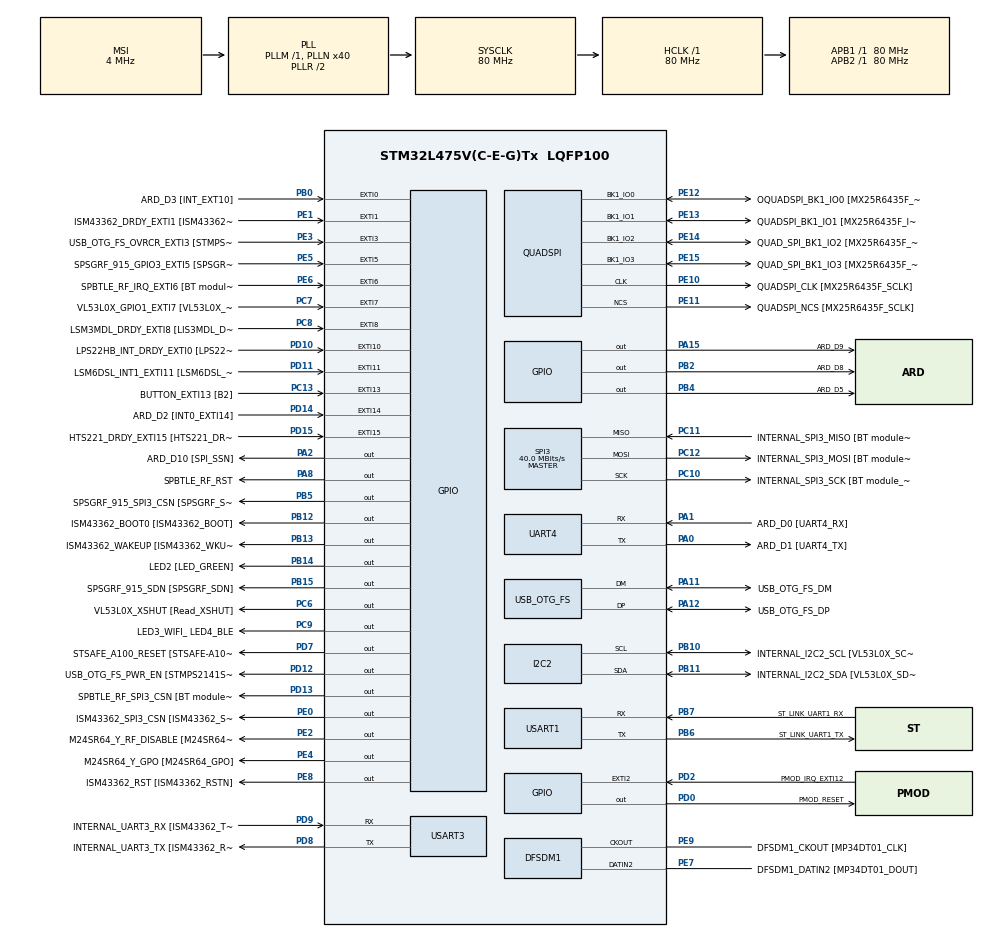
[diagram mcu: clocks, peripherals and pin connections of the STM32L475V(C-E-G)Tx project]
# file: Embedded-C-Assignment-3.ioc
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Dma.Request0=UART4_RX
Dma.Request1=UART4_TX
Dma.UART4_RX.0.Direction=DMA_PERIPH_TO_MEMORY
Dma.UART4_RX.0.Instance=DMA2_Channel5
Dma.UART4_RX.0.MemDataAlignment=DMA_MDATAALIGN_BYTE
Dma.UART4_RX.0.MemInc=DMA_MINC_ENABLE
Dma.UART4_RX.0.Mode=DMA_NORMAL
Dma.UART4_RX.0.PeriphDataAlignment=DMA_PDATAALIGN_BYTE
Dma.UART4_RX.0.PeriphInc=DMA_PINC_DISABLE
Dma.UART4_RX.0.Priority=DMA_PRIORITY_LOW
Dma.UART4_TX.1.Direction=DMA_MEMORY_TO_PERIPH
Dma.UART4_TX.1.Instance=DMA2_Channel3
Dma.UART4_TX.1.MemDataAlignment=DMA_MDATAALIGN_BYTE
Dma.UART4_TX.1.MemInc=DMA_MINC_ENABLE
Dma.UART4_TX.1.Mode=DMA_NORMAL
Dma.UART4_TX.1.PeriphDataAlignment=DMA_PDATAALIGN_BYTE
Dma.UART4_TX.1.PeriphInc=DMA_PINC_DISABLE
Dma.UART4_TX.1.Priority=DMA_PRIORITY_LOW
Mcu.Family=STM32L4
Mcu.Name=STM32L475V(C-E-G)Tx
Mcu.Package=LQFP100
NVIC.DMA2_Channel3_IRQn=true\:0\:0\:false\:false\:true\:false\:true\:true
NVIC.DMA2_Channel5_IRQn=true\:0\:0\:false\:false\:true\:false\:true\:true
NVIC.EXTI15_10_IRQn=true\:0\:0\:false\:false\:true\:true\:true\:true
NVIC.EXTI9_5_IRQn=true\:0\:0\:false\:false\:true\:true\:true\:true
NVIC.PriorityGroup=NVIC_PRIORITYGROUP_4
NVIC.UART4_IRQn=true\:0\:0\:false\:false\:true\:true\:true\:true
PA0.GPIO_Label=ARD_D1 [UART4_TX]
PA0.Mode=Asynchronous
PA0.Signal=UART4_TX
PA1.GPIO_Label=ARD_D0 [UART4_RX]
PA1.Mode=Asynchronous
PA1.Signal=UART4_RX
PA10.GPIO_Label=USB_OTG_FS_ID
PA10.Signal=USB_OTG_FS_ID
PA11.GPIO_Label=USB_OTG_FS_DM
PA11.Mode=Device_Only
PA11.Signal=USB_OTG_FS_DM
PA12.GPIO_Label=USB_OTG_FS_DP
PA12.Mode=Device_Only
PA12.Signal=USB_OTG_FS_DP
PA13\ (JTMS-SWDIO).GPIO_Label=SYS_JTMS_SWDIO
PA13\ (JTMS-SWDIO).Mode=Serial_Wire
PA13\ (JTMS-SWDIO).Signal=SYS_JTMS-SWDIO
PA14\ (JTCK-SWCLK).GPIO_Label=SYS_JTCK_SWCLK
PA14\ (JTCK-SWCLK).Mode=Serial_Wire
PA14\ (JTCK-SWCLK).Signal=SYS_JTCK-SWCLK
PA15\ (JTDI).GPIO_Label=ARD_D9
PA15\ (JTDI).Signal=GPIO_Output
PA2.GPIO_Label=ARD_D10 [SPI_SSN]
PA2.Signal=GPIO_Output
PA3.GPIO_Label=ARD_D4
PA3.Signal=S_TIM2_CH4
PA4.GPIO_Label=ARD_D7
PA4.Signal=ADCx_IN9
PA5.GPIO_Label=ARD_D13 [SPI1_SCK]
PA5.Signal=SPI1_SCK
PA6.GPIO_Label=ARD_D12 [SPI1_MISO]
PA6.Signal=SPI1_MISO
PA7.GPIO_Label=ARD_D11 [SPI1_MOSI]
PA7.Signal=SPI1_MOSI
PA8.GPIO_Label=SPBTLE_RF_RST
PA8.Signal=GPIO_Output
PA9.GPIO_Label=USB_OTG_FS_VBUS [STMPS2141STR_OUT]
PA9.Signal=USB_OTG_FS_VBUS
PB0.GPIO_Label=ARD_D3 [INT_EXT10]
PB0.Signal=GPXTI0
PB1.GPIO_Label=ARD_D6 [ADC1_IN6]
PB1.Signal=ADCx_IN16
PB10.GPIO_Label=INTERNAL_I2C2_SCL [VL53L0X_SCL]
PB10.GPIO_Pu=GPIO_PULLUP
PB10.Mode=I2C
PB10.Signal=I2C2_SCL
PB11.GPIO_Label=INTERNAL_I2C2_SDA [VL53L0X_SDA]
PB11.GPIO_Pu=GPIO_PULLUP
PB11.Mode=I2C
PB11.Signal=I2C2_SDA
PB12.GPIO_Label=ISM43362_BOOT0 [ISM43362_BOOT]
PB12.Signal=GPIO_Output
PB13.GPIO_Label=ISM43362_WAKEUP [ISM43362_WKUP]
PB13.Signal=GPIO_Output
PB14.GPIO_Label=LED2 [LED_GREEN]
PB14.Signal=GPIO_Output
PB15.GPIO_Label=SPSGRF_915_SDN [SPSGRF_SDN]
PB15.Signal=GPIO_Output
PB2.GPIO_Label=ARD_D8
PB2.Signal=GPIO_Output
PB3\ (JTDO-TRACESWO).GPIO_Label=SYS_JTD0_SWO
PB3\ (JTDO-TRACESWO).Signal=SYS_JTDO-SWO
PB4\ (NJTRST).GPIO_Label=ARD_D5
PB4\ (NJTRST).Signal=GPIO_Output
PB5.GPIO_Label=SPSGRF_915_SPI3_CSN [SPSGRF_SPI_CS]
PB5.PinState=GPIO_PIN_SET
PB5.Signal=GPIO_Output
PB6.GPIO_Label=ST_LINK_UART1_TX
PB6.Mode=Asynchronous
PB6.Signal=USART1_TX
PB7.GPIO_Label=ST_LINK_UART1_RX
PB7.Mode=Asynchronous
PB7.Signal=USART1_RX
PB8.GPIO_Label=ARD_D15 [I2C1_SCL]
PB8.Signal=I2C1_SCL
PB9.GPIO_Label=ARD_D14 [I2C1_SDA]
PB9.Signal=I2C1_SDA
PC0.GPIO_Label=ARD_A5 [ADC]
PC0.Signal=ADCx_IN1
PC1.GPIO_Label=ARD_A4 [ADC]
PC1.Signal=ADCx_IN2
PC10.GPIO_Label=INTERNAL_SPI3_SCK [BT module_SPI_SCLK] [ISM43362_SCK]
PC10.Mode=Full_Duplex_Master
PC10.Signal=SPI3_SCK
PC11.GPIO_Label=INTERNAL_SPI3_MISO [BT module_SPI_MISO] [ISM43362_MISO]
PC11.Mode=Full_Duplex_Master
PC11.Signal=SPI3_MISO
PC12.GPIO_Label=INTERNAL_SPI3_MOSI [BT module_SPI_MOSI] [ISM43362_MOSI]
PC12.Mode=Full_Duplex_Master
PC12.Signal=SPI3_MOSI
PC13.GPIO_Label=BUTTON_EXTI13 [B2]
PC13.GPIO_ModeDefaultEXTI=GPIO_MODE_IT_FALLING
PC13.Signal=GPXTI13
PC14-OSC32_IN\ (PC14).Mode=LSE-External-Oscillator
PC14-OSC32_IN\ (PC14).Signal=RCC_OSC32_IN
PC15-OSC32_OUT\ (PC15).Mode=LSE-External-Oscillator
PC15-OSC32_OUT\ (PC15).Signal=RCC_OSC32_OUT
PC2.GPIO_Label=ARD_A3 [ADC]
PC2.Signal=ADCx_IN3
PC3.GPIO_Label=ARD_A2 [ADC]
PC3.Signal=ADCx_IN4
PC4.GPIO_Label=ARD_A1 [ADC]
PC4.Signal=ADCx_IN13
PC5.GPIO_Label=ARD_A0 [ADC]
PC5.Signal=ADCx_IN14
PC6.GPIO_Label=VL53L0X_XSHUT [Read_XSHUT]
PC6.Signal=GPIO_Output
PC7.GPIO_Label=VL53L0X_GPIO1_EXTI7 [VL53L0X_GPIO1]
PC7.Signal=GPXTI7
PC8.GPIO_Label=LSM3MDL_DRDY_EXTI8 [LIS3MDL_DRDY]
PC8.Signal=GPXTI8
PC9.GPIO_Label=LED3_WIFI_ LED4_BLE
PC9.Signal=GPIO_Output
PD0.GPIO_Label=PMOD_RESET
PD0.Signal=GPIO_Output
PD1.GPIO_Label=PMOD_SPI2_SCK
PD1.Signal=SPI2_SCK
PD10.GPIO_Label=LPS22HB_INT_DRDY_EXTI0 [LPS22HB_INT_DRDY] 
PD10.Signal=GPXTI10
PD11.GPIO_Label=LSM6DSL_INT1_EXTI11 [LSM6DSL_INT1]
PD11.Signal=GPXTI11
PD12.GPIO_Label=USB_OTG_FS_PWR_EN [STMPS2141STR_EN]
PD12.Signal=GPIO_Output
PD13.GPIO_Label=SPBTLE_RF_SPI3_CSN [BT module_SPI_CS]
PD13.PinState=GPIO_PIN_SET
PD13.Signal=GPIO_Output
PD14.GPIO_Label=ARD_D2 [INT0_EXTI14]
PD14.Signal=GPXTI14
PD15.GPIO_Label=HTS221_DRDY_EXTI15 [HTS221_DRDY]
PD15.Signal=GPXTI15
PD2.GPIO_Label=PMOD_IRQ_EXTI12
PD2.Signal=GPXTI2
PD3.GPIO_Label=PMOD_UART2_CTS
PD3.Signal=USART2_CTS
PD4.GPIO_Label=PMOD_UART2_RTS
PD4.Signal=USART2_RTS
PD5.GPIO_Label=PMOD_UART2_TX
PD5.Signal=USART2_TX
PD6.GPIO_Label=PMOD_UART2_RX
PD6.Signal=USART2_RX
PD7.GPIO_Label=STSAFE_A100_RESET [STSAFE-A100_RESET]
PD7.Signal=GPIO_Output
PD8.GPIO_Label=INTERNAL_UART3_TX [ISM43362_RX]
PD8.Mode=Asynchronous
PD8.Signal=USART3_TX
PD9.GPIO_Label=INTERNAL_UART3_RX [ISM43362_TX]
PD9.Mode=Asynchronous
PD9.Signal=USART3_RX
PE0.GPIO_Label=ISM43362_SPI3_CSN [ISM43362_SSN]
PE0.PinState=GPIO_PIN_SET
PE0.Signal=GPIO_Output
PE1.GPIO_Label=ISM43362_DRDY_EXTI1 [ISM43362_DATARDY]
PE1.Signal=GPXTI1
PE10.GPIO_Label=QUADSPI_CLK [MX25R6435F_SCLK]
PE10.Mode=Single Bank
PE10.Signal=QUADSPI_CLK
PE11.GPIO_Label=QUADSPI_NCS [MX25R6435F_SCLK]
PE11.Mode=Single Bank
PE11.Signal=QUADSPI_NCS
PE12.GPIO_Label=OQUADSPI_BK1_IO0 [MX25R6435F_IO0]
PE12.Mode=Single Bank
PE12.Signal=QUADSPI_BK1_IO0
PE13.GPIO_Label=QUADSPI_BK1_IO1 [MX25R6435F_IO1]
PE13.Mode=Single Bank
PE13.Signal=QUADSPI_BK1_IO1
PE14.GPIO_Label=QUAD_SPI_BK1_IO2 [MX25R6435F_IO2]
PE14.Mode=Single Bank
PE14.Signal=QUADSPI_BK1_IO2
PE15.GPIO_Label=QUAD_SPI_BK1_IO3 [MX25R6435F_IO3]
PE15.Mode=Single Bank
PE15.Signal=QUADSPI_BK1_IO3
PE2.GPIO_Label=M24SR64_Y_RF_DISABLE [M24SR64_RFDIS]
PE2.Signal=GPIO_Output
PE3.GPIO_Label=USB_OTG_FS_OVRCR_EXTI3 [STMPS2141STR_FAULT]
PE3.Signal=GPXTI3
PE4.GPIO_Label=M24SR64_Y_GPO [M24SR64_GPO]
PE4.Signal=GPIO_Output
PE5.GPIO_Label=SPSGRF_915_GPIO3_EXTI5 [SPSGRF_GPIO_3]
PE5.Signal=GPXTI5
PE6.GPIO_Label=SPBTLE_RF_IRQ_EXTI6 [BT module_SPI_IRQ]
PE6.Signal=GPXTI6
PE7.GPIO_Label=DFSDM1_DATIN2 [MP34DT01_DOUT]
PE7.Signal=S_DATAIN2DFSDM1
PE8.GPIO_Label=ISM43362_RST [ISM43362_RSTN]
PE8.Signal=GPIO_Output
PE9.GPIO_Label=DFSDM1_CKOUT [MP34DT01_CLK]
PE9.Signal=S_CKOUTDFSDM1
ProjectManager.HeapSize=0x200
ProjectManager.StackSize=0x400
ProjectManager.TargetToolchain=STM32CubeIDE
QUADSPI.ClockPrescaler=2
QUADSPI.FifoThreshold=4
QUADSPI.FlashSize=23
QUADSPI.SampleShifting=QSPI_SAMPLE_SHIFTING_HALFCYCLE
RCC.ADCFreq_Value=48000000
RCC.AHBFreq_Value=80000000
RCC.APB1Freq_Value=80000000
RCC.APB1TimFreq_Value=80000000
RCC.APB2Freq_Value=80000000
RCC.APB2TimFreq_Value=80000000
RCC.CortexFreq_Value=80000000
RCC.HCLKFreq_Value=80000000
RCC.HSE_VALUE=8000000
RCC.HSI_VALUE=16000000
RCC.MSI_VALUE=4000000
RCC.PLLN=40
RCC.PLLSAI1N=24
RCC.SYSCLKFreq_VALUE=80000000
RCC.SYSCLKSource=RCC_SYSCLKSOURCE_PLLCLK
RCC.USBFreq_Value=48000000
RCC.VCOOutputFreq_Value=160000000
SH.ADCx_IN1.0=ADC1_IN1
SH.ADCx_IN13.0=ADC1_IN13
SH.ADCx_IN14.0=ADC1_IN14
SH.ADCx_IN16.0=ADC1_IN16
SH.ADCx_IN2.0=ADC1_IN2
SH.ADCx_IN3.0=ADC1_IN3
SH.ADCx_IN4.0=ADC1_IN4
SH.ADCx_IN9.0=ADC1_IN9
SH.S_CKOUTDFSDM1.0=DFSDM1_CKOUT,CKOUT
SH.S_CKOUTDFSDM1.1=DFSDM1_CKOUT,PDM_SPI_Input_from_ch12_and_Internal_Clock
SH.S_DATAIN2DFSDM1.0=DFSDM1_DATIN2,PDM_SPI_Input_from_ch12_and_Internal_Clock
SH.S_TIM2_CH4.0=TIM2_CH4
SPI3.CalculateBaudRate=40.0 MBits/s
SPI3.Direction=SPI_DIRECTION_2LINES
SPI3.Mode=SPI_MODE_MASTER
SPI3.VirtualType=VM_MASTER
USART1.VirtualMode-Asynchronous=VM_ASYNC
USART3.VirtualMode-Asynchronous=VM_ASYNC
USB_OTG_FS.VirtualMode=Device_Only
board=B-L475E-IOT01A2

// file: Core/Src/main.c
/* USER CODE BEGIN Header */
/**
  ******************************************************************************
  * @file           : main.c
  * @brief          : Main program body
  ******************************************************************************
  * @attention
  *
  * Copyright (c) 2023 STMicroelectronics.
  * All rights reserved.
  *
  * This software is licensed under terms that can be found in the LICENSE file
  * in the root directory of this software component.
  * If no LICENSE file comes with this software, it is provided AS-IS.
  *
  ******************************************************************************
  */
/* USER CODE END Header */
#include "main.h"

/* USER CODE BEGIN Includes */
#include <stdio.h>
#include <string.h>
/* USER CODE END Includes */

DFSDM_Channel_HandleTypeDef hdfsdm1_channel1;

I2C_HandleTypeDef hi2c2;

QSPI_HandleTypeDef hqspi;

SPI_HandleTypeDef hspi3;

UART_HandleTypeDef huart4;
UART_HandleTypeDef huart1;
UART_HandleTypeDef huart3;
DMA_HandleTypeDef hdma_uart4_rx;
DMA_HandleTypeDef hdma_uart4_tx;

PCD_HandleTypeDef hpcd_USB_OTG_FS;

void SystemClock_Config(void);
static void MX_GPIO_Init(void);
static void MX_DMA_Init(void);
static void MX_DFSDM1_Init(void);
static void MX_I2C2_Init(void);
static void MX_QUADSPI_Init(void);
static void MX_SPI3_Init(void);
static void MX_USART1_UART_Init(void);
static void MX_USART3_UART_Init(void);
static void MX_USB_OTG_FS_PCD_Init(void);
static void MX_UART4_Init(void);

/* USER CODE BEGIN 0 */
static char tx_buf[] = "abcdefghijklmnopqrstuvwxyz\r\n";
static char rx_buf[] = "abcdefghijklmnopqrstuvwxyz\r\n";

static void do_polling()
{
	char *ptx_buf = tx_buf;
	char *prx_buf = rx_buf;

	// Set Rx buffer to known character
	for(int i = 0; i < sizeof(rx_buf); i++) rx_buf[i] = '?';

	do
	{
		// Let UART1 knows we are active
		char ch = '.';
		HAL_UART_Transmit(&huart1, (uint8_t*)&ch, 1, 100);

		// Send a char
		HAL_UART_Transmit(&huart4, (uint8_t*)ptx_buf, 1, 100);

		// Receive a char (we are in loop-back)
		HAL_UART_Receive(&huart4, (uint8_t*)prx_buf, 1, 100);

		// Confirm they are the same
		if(*ptx_buf != *prx_buf)
		{
			char buf[100];
			snprintf(buf, sizeof(buf), "\r\n Error 0x%02x != 0x%02x\r\n", *ptx_buf, *prx_buf);
			HAL_UART_Transmit(&huart1, (uint8_t*)buf, sizeof(buf), 100);
			return;
		}
		// point to next location
		ptx_buf++;
		prx_buf++;
	}while(ptx_buf < tx_buf + sizeof(tx_buf));
}

static int do_interrupt_done;

void HAL_UART_TxCpltCallback(UART_HandleTypeDef *huart)
{
	// Show we made it here
	char ch = 'T';
	HAL_UART_Transmit(&huart1, (uint8_t*)&ch, 1, 100);
}

void HAL_UART_RxCpltCallback(UART_HandleTypeDef *huart)
{
	// Show we made it here
	char ch = 'R';
	HAL_UART_Transmit(&huart1, (uint8_t*)&ch, 1, 100);

	// Confirm we receive all the data
	HAL_UART_Transmit(&huart1, (uint8_t*)rx_buf, sizeof(rx_buf), 100);

	do_interrupt_done = 1;
}

static void do_interrupt()
{
	// Set Rx buffer to known character
	for(int i = 0; i < sizeof(rx_buf); i++) rx_buf[i] = '?';

	// Let UART1 knows we are active
	char ch = '.';
	HAL_UART_Transmit(&huart1, (uint8_t*)&ch, 1, 100);

	// Clears flag to know when interrupt is done
	do_interrupt_done = 0;

	// Receive the buffer using interrupt;
	HAL_UART_Receive_IT(&huart4, (uint8_t*)rx_buf, sizeof(rx_buf));

	// Send the complete buffer using interrupt
	HAL_UART_Transmit_IT(&huart4, (uint8_t*)tx_buf, sizeof(tx_buf));

	// Interrupt Tx and Rx does the work, we just wait
	while(!do_interrupt_done)
	{
		char ch = '~';
		HAL_UART_Transmit(&huart1, (uint8_t*)&ch, 1, 100);
		HAL_Delay(100);
	}
}

static void do_dma()
{
	// Set Rx buffer to known character
	for(int i = 0; i < sizeof(rx_buf); i++) rx_buf[i] = '?';

	// Let UART1 knows we are active
	char ch = '.';
	HAL_UART_Transmit(&huart1, (uint8_t*)&ch, 1, 100);

	// Clears flag to know when interrupt is done
	do_interrupt_done = 0;

	// Receive the buffer using interrupt;
	HAL_UART_Receive_DMA(&huart4, (uint8_t*)rx_buf, sizeof(rx_buf));

	// Send the complete buffer using interrupt
	HAL_UART_Transmit_DMA(&huart4, (uint8_t*)tx_buf, sizeof(tx_buf));

	// Interrupt Tx and Rx does the work, we just wait
	while(!do_interrupt_done)
	{
		char ch = '~';
		HAL_UART_Transmit(&huart1, (uint8_t*)&ch, 1, 100);
		HAL_Delay(100);
	}
}

/* USER CODE END 0 */

int main(void)
{

  /* MCU Configuration--------------------------------------------------------*/

  /* Reset of all peripherals, Initializes the Flash interface and the Systick. */
  HAL_Init();

  /* Configure the system clock */
  SystemClock_Config();

  /* Initialize all configured peripherals */
  MX_GPIO_Init();
  MX_DMA_Init();
  MX_DFSDM1_Init();
  MX_I2C2_Init();
  MX_QUADSPI_Init();
  MX_SPI3_Init();
  MX_USART1_UART_Init();
  MX_USART3_UART_Init();
  MX_USB_OTG_FS_PCD_Init();
  MX_UART4_Init();

  /* Infinite loop */
  while (1)
  {

    /* USER CODE BEGIN 3 */
	// Issue command prompt
	char *prompt = "Options: 1=polling, 2=interrupt, 3=DMA\n\rcmd> ";
	HAL_UART_Transmit(&huart1, (uint8_t*) prompt, strlen(prompt), 1000);

	// Wait for a single number entry
	char ch;
	HAL_UART_Receive(&huart1, (uint8_t*) &ch, 1, HAL_MAX_DELAY);
	char *msg = "What?";
	switch(ch)
	{
	case '1': msg = "\r\n TODO: Polling \r\n"; do_polling(); break;
	case '2': msg = "\r\n TODO: Interrupt \r\n"; do_interrupt(); break;
	case '3': msg = "\r\n TODO: DMA \r\n"; do_dma(); break;
	// Fall through if none
	}
	HAL_UART_Transmit(&huart1, (uint8_t*) msg, strlen(msg), 1000);
  }
  /* USER CODE END 3 */
}

void SystemClock_Config(void)
{
  RCC_OscInitTypeDef RCC_OscInitStruct = {0};
  RCC_ClkInitTypeDef RCC_ClkInitStruct = {0};

  /** Configure the main internal regulator output voltage
  */
  if (HAL_PWREx_ControlVoltageScaling(PWR_REGULATOR_VOLTAGE_SCALE1) != HAL_OK)
  {
    Error_Handler();
  }

  /** Configure LSE Drive Capability
  */
  HAL_PWR_EnableBkUpAccess();
  __HAL_RCC_LSEDRIVE_CONFIG(RCC_LSEDRIVE_LOW);

  /** Initializes the RCC Oscillators according to the specified parameters
  * in the RCC_OscInitTypeDef structure.
  */
  RCC_OscInitStruct.OscillatorType = RCC_OSCILLATORTYPE_LSE|RCC_OSCILLATORTYPE_MSI;
  RCC_OscInitStruct.LSEState = RCC_LSE_ON;
  RCC_OscInitStruct.MSIState = RCC_MSI_ON;
  RCC_OscInitStruct.MSICalibrationValue = 0;
  RCC_OscInitStruct.MSIClockRange = RCC_MSIRANGE_6;
  RCC_OscInitStruct.PLL.PLLState = RCC_PLL_ON;
  RCC_OscInitStruct.PLL.PLLSource = RCC_PLLSOURCE_MSI;
  RCC_OscInitStruct.PLL.PLLM = 1;
  RCC_OscInitStruct.PLL.PLLN = 40;
  RCC_OscInitStruct.PLL.PLLP = RCC_PLLP_DIV7;
  RCC_OscInitStruct.PLL.PLLQ = RCC_PLLQ_DIV2;
  RCC_OscInitStruct.PLL.PLLR = RCC_PLLR_DIV2;
  if (HAL_RCC_OscConfig(&RCC_OscInitStruct) != HAL_OK)
  {
    Error_Handler();
  }

  /** Initializes the CPU, AHB and APB buses clocks
  */
  RCC_ClkInitStruct.ClockType = RCC_CLOCKTYPE_HCLK|RCC_CLOCKTYPE_SYSCLK
                              |RCC_CLOCKTYPE_PCLK1|RCC_CLOCKTYPE_PCLK2;
  RCC_ClkInitStruct.SYSCLKSource = RCC_SYSCLKSOURCE_PLLCLK;
  RCC_ClkInitStruct.AHBCLKDivider = RCC_SYSCLK_DIV1;
  RCC_ClkInitStruct.APB1CLKDivider = RCC_HCLK_DIV1;
  RCC_ClkInitStruct.APB2CLKDivider = RCC_HCLK_DIV1;

  if (HAL_RCC_ClockConfig(&RCC_ClkInitStruct, FLASH_LATENCY_4) != HAL_OK)
  {
    Error_Handler();
  }

  /** Enable MSI Auto calibration
  */
  HAL_RCCEx_EnableMSIPLLMode();
}

static void MX_DFSDM1_Init(void)
{

  hdfsdm1_channel1.Instance = DFSDM1_Channel1;
  hdfsdm1_channel1.Init.OutputClock.Activation = ENABLE;
  hdfsdm1_channel1.Init.OutputClock.Selection = DFSDM_CHANNEL_OUTPUT_CLOCK_SYSTEM;
  hdfsdm1_channel1.Init.OutputClock.Divider = 2;
  hdfsdm1_channel1.Init.Input.Multiplexer = DFSDM_CHANNEL_EXTERNAL_INPUTS;
  hdfsdm1_channel1.Init.Input.DataPacking = DFSDM_CHANNEL_STANDARD_MODE;
  hdfsdm1_channel1.Init.Input.Pins = DFSDM_CHANNEL_FOLLOWING_CHANNEL_PINS;
  hdfsdm1_channel1.Init.SerialInterface.Type = DFSDM_CHANNEL_SPI_RISING;
  hdfsdm1_channel1.Init.SerialInterface.SpiClock = DFSDM_CHANNEL_SPI_CLOCK_INTERNAL;
  hdfsdm1_channel1.Init.Awd.FilterOrder = DFSDM_CHANNEL_FASTSINC_ORDER;
  hdfsdm1_channel1.Init.Awd.Oversampling = 1;
  hdfsdm1_channel1.Init.Offset = 0;
  hdfsdm1_channel1.Init.RightBitShift = 0x00;
  if (HAL_DFSDM_ChannelInit(&hdfsdm1_channel1) != HAL_OK)
  {
    Error_Handler();
  }

}

static void MX_I2C2_Init(void)
{

  hi2c2.Instance = I2C2;
  hi2c2.Init.Timing = 0x00000E14;
  hi2c2.Init.OwnAddress1 = 0;
  hi2c2.Init.AddressingMode = I2C_ADDRESSINGMODE_7BIT;
  hi2c2.Init.DualAddressMode = I2C_DUALADDRESS_DISABLE;
  hi2c2.Init.OwnAddress2 = 0;
  hi2c2.Init.OwnAddress2Masks = I2C_OA2_NOMASK;
  hi2c2.Init.GeneralCallMode = I2C_GENERALCALL_DISABLE;
  hi2c2.Init.NoStretchMode = I2C_NOSTRETCH_DISABLE;
  if (HAL_I2C_Init(&hi2c2) != HAL_OK)
  {
    Error_Handler();
  }

  /** Configure Analogue filter
  */
  if (HAL_I2CEx_ConfigAnalogFilter(&hi2c2, I2C_ANALOGFILTER_ENABLE) != HAL_OK)
  {
    Error_Handler();
  }

  /** Configure Digital filter
  */
  if (HAL_I2CEx_ConfigDigitalFilter(&hi2c2, 0) != HAL_OK)
  {
    Error_Handler();
  }

}

static void MX_QUADSPI_Init(void)
{

  /* QUADSPI parameter configuration*/
  hqspi.Instance = QUADSPI;
  hqspi.Init.ClockPrescaler = 2;
  hqspi.Init.FifoThreshold = 4;
  hqspi.Init.SampleShifting = QSPI_SAMPLE_SHIFTING_HALFCYCLE;
  hqspi.Init.FlashSize = 23;
  hqspi.Init.ChipSelectHighTime = QSPI_CS_HIGH_TIME_1_CYCLE;
  hqspi.Init.ClockMode = QSPI_CLOCK_MODE_0;
  if (HAL_QSPI_Init(&hqspi) != HAL_OK)
  {
    Error_Handler();
  }

}

static void MX_SPI3_Init(void)
{

  /* SPI3 parameter configuration*/
  hspi3.Instance = SPI3;
  hspi3.Init.Mode = SPI_MODE_MASTER;
  hspi3.Init.Direction = SPI_DIRECTION_2LINES;
  hspi3.Init.DataSize = SPI_DATASIZE_4BIT;
  hspi3.Init.CLKPolarity = SPI_POLARITY_LOW;
  hspi3.Init.CLKPhase = SPI_PHASE_1EDGE;
  hspi3.Init.NSS = SPI_NSS_SOFT;
  hspi3.Init.BaudRatePrescaler = SPI_BAUDRATEPRESCALER_2;
  hspi3.Init.FirstBit = SPI_FIRSTBIT_MSB;
  hspi3.Init.TIMode = SPI_TIMODE_DISABLE;
  hspi3.Init.CRCCalculation = SPI_CRCCALCULATION_DISABLE;
  hspi3.Init.CRCPolynomial = 7;
  hspi3.Init.CRCLength = SPI_CRC_LENGTH_DATASIZE;
  hspi3.Init.NSSPMode = SPI_NSS_PULSE_ENABLE;
  if (HAL_SPI_Init(&hspi3) != HAL_OK)
  {
    Error_Handler();
  }

}

static void MX_UART4_Init(void)
{

  huart4.Instance = UART4;
  huart4.Init.BaudRate = 115200;
  huart4.Init.WordLength = UART_WORDLENGTH_8B;
  huart4.Init.StopBits = UART_STOPBITS_1;
  huart4.Init.Parity = UART_PARITY_NONE;
  huart4.Init.Mode = UART_MODE_TX_RX;
  huart4.Init.HwFlowCtl = UART_HWCONTROL_NONE;
  huart4.Init.OverSampling = UART_OVERSAMPLING_16;
  huart4.Init.OneBitSampling = UART_ONE_BIT_SAMPLE_DISABLE;
  huart4.AdvancedInit.AdvFeatureInit = UART_ADVFEATURE_NO_INIT;
  if (HAL_UART_Init(&huart4) != HAL_OK)
  {
    Error_Handler();
  }

}

static void MX_USART1_UART_Init(void)
{

  huart1.Instance = USART1;
  huart1.Init.BaudRate = 115200;
  huart1.Init.WordLength = UART_WORDLENGTH_8B;
  huart1.Init.StopBits = UART_STOPBITS_1;
  huart1.Init.Parity = UART_PARITY_NONE;
  huart1.Init.Mode = UART_MODE_TX_RX;
  huart1.Init.HwFlowCtl = UART_HWCONTROL_NONE;
  huart1.Init.OverSampling = UART_OVERSAMPLING_16;
  huart1.Init.OneBitSampling = UART_ONE_BIT_SAMPLE_DISABLE;
  huart1.AdvancedInit.AdvFeatureInit = UART_ADVFEATURE_NO_INIT;
  if (HAL_UART_Init(&huart1) != HAL_OK)
  {
    Error_Handler();
  }

}

static void MX_USART3_UART_Init(void)
{

  huart3.Instance = USART3;
  huart3.Init.BaudRate = 115200;
  huart3.Init.WordLength = UART_WORDLENGTH_8B;
  huart3.Init.StopBits = UART_STOPBITS_1;
  huart3.Init.Parity = UART_PARITY_NONE;
  huart3.Init.Mode = UART_MODE_TX_RX;
  huart3.Init.HwFlowCtl = UART_HWCONTROL_NONE;
  huart3.Init.OverSampling = UART_OVERSAMPLING_16;
  huart3.Init.OneBitSampling = UART_ONE_BIT_SAMPLE_DISABLE;
  huart3.AdvancedInit.AdvFeatureInit = UART_ADVFEATURE_NO_INIT;
  if (HAL_UART_Init(&huart3) != HAL_OK)
  {
    Error_Handler();
  }

}

static void MX_USB_OTG_FS_PCD_Init(void)
{

  hpcd_USB_OTG_FS.Instance = USB_OTG_FS;
  hpcd_USB_OTG_FS.Init.dev_endpoints = 6;
  hpcd_USB_OTG_FS.Init.speed = PCD_SPEED_FULL;
  hpcd_USB_OTG_FS.Init.phy_itface = PCD_PHY_EMBEDDED;
  hpcd_USB_OTG_FS.Init.Sof_enable = DISABLE;
  hpcd_USB_OTG_FS.Init.low_power_enable = DISABLE;
  hpcd_USB_OTG_FS.Init.lpm_enable = DISABLE;
  hpcd_USB_OTG_FS.Init.battery_charging_enable = DISABLE;
  hpcd_USB_OTG_FS.Init.use_dedicated_ep1 = DISABLE;
  hpcd_USB_OTG_FS.Init.vbus_sensing_enable = DISABLE;
  if (HAL_PCD_Init(&hpcd_USB_OTG_FS) != HAL_OK)
  {
    Error_Handler();
  }

}

static void MX_DMA_Init(void)
{

  /* DMA controller clock enable */
  __HAL_RCC_DMA2_CLK_ENABLE();

  /* DMA interrupt init */
  /* DMA2_Channel3_IRQn interrupt configuration */
  HAL_NVIC_SetPriority(DMA2_Channel3_IRQn, 0, 0);
  HAL_NVIC_EnableIRQ(DMA2_Channel3_IRQn);
  /* DMA2_Channel5_IRQn interrupt configuration */
  HAL_NVIC_SetPriority(DMA2_Channel5_IRQn, 0, 0);
  HAL_NVIC_EnableIRQ(DMA2_Channel5_IRQn);

}

static void MX_GPIO_Init(void)
{
  GPIO_InitTypeDef GPIO_InitStruct = {0};

  /* GPIO Ports Clock Enable */
  __HAL_RCC_GPIOE_CLK_ENABLE();
  __HAL_RCC_GPIOC_CLK_ENABLE();
  __HAL_RCC_GPIOA_CLK_ENABLE();
  __HAL_RCC_GPIOB_CLK_ENABLE();
  __HAL_RCC_GPIOD_CLK_ENABLE();

  /*Configure GPIO pin Output Level */
  HAL_GPIO_WritePin(GPIOE, M24SR64_Y_RF_DISABLE_Pin|M24SR64_Y_GPO_Pin|ISM43362_RST_Pin, GPIO_PIN_RESET);

  /*Configure GPIO pin Output Level */
  HAL_GPIO_WritePin(GPIOA, ARD_D10_Pin|SPBTLE_RF_RST_Pin|ARD_D9_Pin, GPIO_PIN_RESET);

  /*Configure GPIO pin Output Level */
  HAL_GPIO_WritePin(GPIOB, ARD_D8_Pin|ISM43362_BOOT0_Pin|ISM43362_WAKEUP_Pin|LED2_Pin
                          |SPSGRF_915_SDN_Pin|ARD_D5_Pin, GPIO_PIN_RESET);

  /*Configure GPIO pin Output Level */
  HAL_GPIO_WritePin(GPIOD, USB_OTG_FS_PWR_EN_Pin|PMOD_RESET_Pin|STSAFE_A100_RESET_Pin, GPIO_PIN_RESET);

  /*Configure GPIO pin Output Level */
  HAL_GPIO_WritePin(SPBTLE_RF_SPI3_CSN_GPIO_Port, SPBTLE_RF_SPI3_CSN_Pin, GPIO_PIN_SET);

  /*Configure GPIO pin Output Level */
  HAL_GPIO_WritePin(GPIOC, VL53L0X_XSHUT_Pin|LED3_WIFI__LED4_BLE_Pin, GPIO_PIN_RESET);

  /*Configure GPIO pin Output Level */
  HAL_GPIO_WritePin(SPSGRF_915_SPI3_CSN_GPIO_Port, SPSGRF_915_SPI3_CSN_Pin, GPIO_PIN_SET);

  /*Configure GPIO pin Output Level */
  HAL_GPIO_WritePin(ISM43362_SPI3_CSN_GPIO_Port, ISM43362_SPI3_CSN_Pin, GPIO_PIN_SET);

  /*Configure GPIO pins : M24SR64_Y_RF_DISABLE_Pin M24SR64_Y_GPO_Pin ISM43362_RST_Pin ISM43362_SPI3_CSN_Pin */
  GPIO_InitStruct.Pin = M24SR64_Y_RF_DISABLE_Pin|M24SR64_Y_GPO_Pin|ISM43362_RST_Pin|ISM43362_SPI3_CSN_Pin;
  GPIO_InitStruct.Mode = GPIO_MODE_OUTPUT_PP;
  GPIO_InitStruct.Pull = GPIO_NOPULL;
  GPIO_InitStruct.Speed = GPIO_SPEED_FREQ_LOW;
  HAL_GPIO_Init(GPIOE, &GPIO_InitStruct);

  /*Configure GPIO pins : USB_OTG_FS_OVRCR_EXTI3_Pin SPSGRF_915_GPIO3_EXTI5_Pin SPBTLE_RF_IRQ_EXTI6_Pin ISM43362_DRDY_EXTI1_Pin */
  GPIO_InitStruct.Pin = USB_OTG_FS_OVRCR_EXTI3_Pin|SPSGRF_915_GPIO3_EXTI5_Pin|SPBTLE_RF_IRQ_EXTI6_Pin|ISM43362_DRDY_EXTI1_Pin;
  GPIO_InitStruct.Mode = GPIO_MODE_IT_RISING;
  GPIO_InitStruct.Pull = GPIO_NOPULL;
  HAL_GPIO_Init(GPIOE, &GPIO_InitStruct);

  /*Configure GPIO pin : BUTTON_EXTI13_Pin */
  GPIO_InitStruct.Pin = BUTTON_EXTI13_Pin;
  GPIO_InitStruct.Mode = GPIO_MODE_IT_FALLING;
  GPIO_InitStruct.Pull = GPIO_NOPULL;
  HAL_GPIO_Init(BUTTON_EXTI13_GPIO_Port, &GPIO_InitStruct);

  /*Configure GPIO pins : ARD_A5_Pin ARD_A4_Pin ARD_A3_Pin ARD_A2_Pin
                           ARD_A1_Pin ARD_A0_Pin */
  GPIO_InitStruct.Pin = ARD_A5_Pin|ARD_A4_Pin|ARD_A3_Pin|ARD_A2_Pin
                          |ARD_A1_Pin|ARD_A0_Pin;
  GPIO_InitStruct.Mode = GPIO_MODE_ANALOG_ADC_CONTROL;
  GPIO_InitStruct.Pull = GPIO_NOPULL;
  HAL_GPIO_Init(GPIOC, &GPIO_InitStruct);

  /*Configure GPIO pins : ARD_D10_Pin SPBTLE_RF_RST_Pin ARD_D9_Pin */
  GPIO_InitStruct.Pin = ARD_D10_Pin|SPBTLE_RF_RST_Pin|ARD_D9_Pin;
  GPIO_InitStruct.Mode = GPIO_MODE_OUTPUT_PP;
  GPIO_InitStruct.Pull = GPIO_NOPULL;
  GPIO_InitStruct.Speed = GPIO_SPEED_FREQ_LOW;
  HAL_GPIO_Init(GPIOA, &GPIO_InitStruct);

  /*Configure GPIO pin : ARD_D4_Pin */
  GPIO_InitStruct.Pin = ARD_D4_Pin;
  GPIO_InitStruct.Mode = GPIO_MODE_AF_PP;
  GPIO_InitStruct.Pull = GPIO_NOPULL;
  GPIO_InitStruct.Speed = GPIO_SPEED_FREQ_LOW;
  GPIO_InitStruct.Alternate = GPIO_AF1_TIM2;
  HAL_GPIO_Init(ARD_D4_GPIO_Port, &GPIO_InitStruct);

  /*Configure GPIO pin : ARD_D7_Pin */
  GPIO_InitStruct.Pin = ARD_D7_Pin;
  GPIO_InitStruct.Mode = GPIO_MODE_ANALOG_ADC_CONTROL;
  GPIO_InitStruct.Pull = GPIO_NOPULL;
  HAL_GPIO_Init(ARD_D7_GPIO_Port, &GPIO_InitStruct);

  /*Configure GPIO pins : ARD_D13_Pin ARD_D12_Pin ARD_D11_Pin */
  GPIO_InitStruct.Pin = ARD_D13_Pin|ARD_D12_Pin|ARD_D11_Pin;
  GPIO_InitStruct.Mode = GPIO_MODE_AF_PP;
  GPIO_InitStruct.Pull = GPIO_NOPULL;
  GPIO_InitStruct.Speed = GPIO_SPEED_FREQ_VERY_HIGH;
  GPIO_InitStruct.Alternate = GPIO_AF5_SPI1;
  HAL_GPIO_Init(GPIOA, &GPIO_InitStruct);

  /*Configure GPIO pin : ARD_D3_Pin */
  GPIO_InitStruct.Pin = ARD_D3_Pin;
  GPIO_InitStruct.Mode = GPIO_MODE_IT_RISING;
  GPIO_InitStruct.Pull = GPIO_NOPULL;
  HAL_GPIO_Init(ARD_D3_GPIO_Port, &GPIO_InitStruct);

  /*Configure GPIO pin : ARD_D6_Pin */
  GPIO_InitStruct.Pin = ARD_D6_Pin;
  GPIO_InitStruct.Mode = GPIO_MODE_ANALOG_ADC_CONTROL;
  GPIO_InitStruct.Pull = GPIO_NOPULL;
  HAL_GPIO_Init(ARD_D6_GPIO_Port, &GPIO_InitStruct);

  /*Configure GPIO pins : ARD_D8_Pin ISM43362_BOOT0_Pin ISM43362_WAKEUP_Pin LED2_Pin
                           SPSGRF_915_SDN_Pin ARD_D5_Pin SPSGRF_915_SPI3_CSN_Pin */
  GPIO_InitStruct.Pin = ARD_D8_Pin|ISM43362_BOOT0_Pin|ISM43362_WAKEUP_Pin|LED2_Pin
                          |SPSGRF_915_SDN_Pin|ARD_D5_Pin|SPSGRF_915_SPI3_CSN_Pin;
  GPIO_InitStruct.Mode = GPIO_MODE_OUTPUT_PP;
  GPIO_InitStruct.Pull = GPIO_NOPULL;
  GPIO_InitStruct.Speed = GPIO_SPEED_FREQ_LOW;
  HAL_GPIO_Init(GPIOB, &GPIO_InitStruct);

  /*Configure GPIO pins : LPS22HB_INT_DRDY_EXTI0_Pin LSM6DSL_INT1_EXTI11_Pin ARD_D2_Pin HTS221_DRDY_EXTI15_Pin
                           PMOD_IRQ_EXTI12_Pin */
  GPIO_InitStruct.Pin = LPS22HB_INT_DRDY_EXTI0_Pin|LSM6DSL_INT1_EXTI11_Pin|ARD_D2_Pin|HTS221_DRDY_EXTI15_Pin
                          |PMOD_IRQ_EXTI12_Pin;
  GPIO_InitStruct.Mode = GPIO_MODE_IT_RISING;
  GPIO_InitStruct.Pull = GPIO_NOPULL;
  HAL_GPIO_Init(GPIOD, &GPIO_InitStruct);

  /*Configure GPIO pins : USB_OTG_FS_PWR_EN_Pin SPBTLE_RF_SPI3_CSN_Pin PMOD_RESET_Pin STSAFE_A100_RESET_Pin */
  GPIO_InitStruct.Pin = USB_OTG_FS_PWR_EN_Pin|SPBTLE_RF_SPI3_CSN_Pin|PMOD_RESET_Pin|STSAFE_A100_RESET_Pin;
  GPIO_InitStruct.Mode = GPIO_MODE_OUTPUT_PP;
  GPIO_InitStruct.Pull = GPIO_NOPULL;
  GPIO_InitStruct.Speed = GPIO_SPEED_FREQ_LOW;
  HAL_GPIO_Init(GPIOD, &GPIO_InitStruct);

  /*Configure GPIO pins : VL53L0X_XSHUT_Pin LED3_WIFI__LED4_BLE_Pin */
  GPIO_InitStruct.Pin = VL53L0X_XSHUT_Pin|LED3_WIFI__LED4_BLE_Pin;
  GPIO_InitStruct.Mode = GPIO_MODE_OUTPUT_PP;
  GPIO_InitStruct.Pull = GPIO_NOPULL;
  GPIO_InitStruct.Speed = GPIO_SPEED_FREQ_LOW;
  HAL_GPIO_Init(GPIOC, &GPIO_InitStruct);

  /*Configure GPIO pins : VL53L0X_GPIO1_EXTI7_Pin LSM3MDL_DRDY_EXTI8_Pin */
  GPIO_InitStruct.Pin = VL53L0X_GPIO1_EXTI7_Pin|LSM3MDL_DRDY_EXTI8_Pin;
  GPIO_InitStruct.Mode = GPIO_MODE_IT_RISING;
  GPIO_InitStruct.Pull = GPIO_NOPULL;
  HAL_GPIO_Init(GPIOC, &GPIO_InitStruct);

  /*Configure GPIO pin : PMOD_SPI2_SCK_Pin */
  GPIO_InitStruct.Pin = PMOD_SPI2_SCK_Pin;
  GPIO_InitStruct.Mode = GPIO_MODE_AF_PP;
  GPIO_InitStruct.Pull = GPIO_NOPULL;
  GPIO_InitStruct.Speed = GPIO_SPEED_FREQ_VERY_HIGH;
  GPIO_InitStruct.Alternate = GPIO_AF5_SPI2;
  HAL_GPIO_Init(PMOD_SPI2_SCK_GPIO_Port, &GPIO_InitStruct);

  /*Configure GPIO pins : PMOD_UART2_CTS_Pin PMOD_UART2_RTS_Pin PMOD_UART2_TX_Pin PMOD_UART2_RX_Pin */
  GPIO_InitStruct.Pin = PMOD_UART2_CTS_Pin|PMOD_UART2_RTS_Pin|PMOD_UART2_TX_Pin|PMOD_UART2_RX_Pin;
  GPIO_InitStruct.Mode = GPIO_MODE_AF_PP;
  GPIO_InitStruct.Pull = GPIO_NOPULL;
  GPIO_InitStruct.Speed = GPIO_SPEED_FREQ_VERY_HIGH;
  GPIO_InitStruct.Alternate = GPIO_AF7_USART2;
  HAL_GPIO_Init(GPIOD, &GPIO_InitStruct);

  /*Configure GPIO pins : ARD_D15_Pin ARD_D14_Pin */
  GPIO_InitStruct.Pin = ARD_D15_Pin|ARD_D14_Pin;
  GPIO_InitStruct.Mode = GPIO_MODE_AF_OD;
  GPIO_InitStruct.Pull = GPIO_NOPULL;
  GPIO_InitStruct.Speed = GPIO_SPEED_FREQ_VERY_HIGH;
  GPIO_InitStruct.Alternate = GPIO_AF4_I2C1;
  HAL_GPIO_Init(GPIOB, &GPIO_InitStruct);

  /* EXTI interrupt init*/
  HAL_NVIC_SetPriority(EXTI9_5_IRQn, 0, 0);
  HAL_NVIC_EnableIRQ(EXTI9_5_IRQn);

  HAL_NVIC_SetPriority(EXTI15_10_IRQn, 0, 0);
  HAL_NVIC_EnableIRQ(EXTI15_10_IRQn);

}

void Error_Handler(void)
{
  __disable_irq();
  while (1)
  {
  }
}
